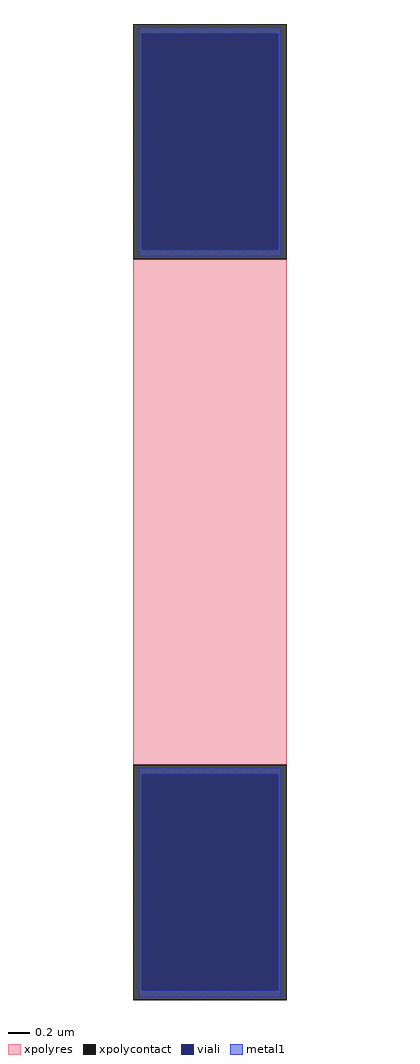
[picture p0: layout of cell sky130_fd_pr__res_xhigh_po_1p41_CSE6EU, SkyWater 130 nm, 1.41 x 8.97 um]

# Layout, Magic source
magic
tech sky130A
magscale 1 2
<< xpolycontact >>
rect -141 465 141 897
rect -141 -897 141 -465
<< xpolyres >>
rect -141 -465 141 465
<< viali >>
rect -125 482 125 879
rect -125 -879 125 -482
<< metal1 >>
rect -131 879 131 891
rect -131 482 -125 879
rect 125 482 131 879
rect -131 470 131 482
rect -131 -482 131 -470
rect -131 -879 -125 -482
rect 125 -879 131 -482
rect -131 -891 131 -879
<< properties >>
string gencell sky130_fd_pr__res_xhigh_po_1p41
string library sky130
string parameters w 1.410 l 4.808 m 1 nx 1 wmin 1.410 lmin 0.50 rho 2000 val 7.086k dummy 0 dw 0.0 term 188.2 sterm 0.0 caplen 0 wmax 1.410 guard 0 glc 1 grc 1 gtc 1 gbc 1 compatible {sky130_fd_pr__res_xhigh_po_0p35  sky130_fd_pr__res_xhigh_po_0p69 sky130_fd_pr__res_xhigh_po_1p41  sky130_fd_pr__res_xhigh_po_2p85 sky130_fd_pr__res_xhigh_po_5p73} snake 0 full_metal 1 n_guard 0 hv_guard 0 vias 1 viagb 0 viagt 0 viagl 0 viagr 0
<< end >>
